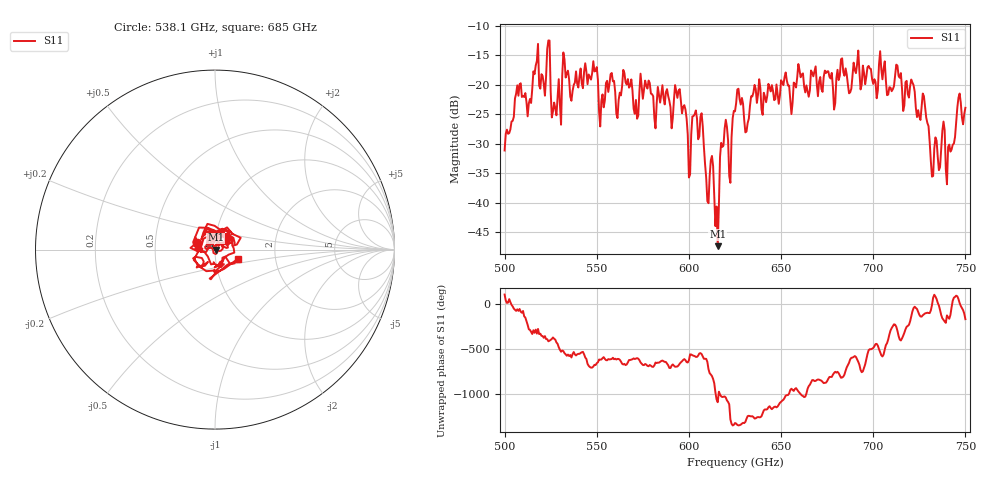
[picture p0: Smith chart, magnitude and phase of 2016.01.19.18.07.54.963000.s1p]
!Created with skrf (http://scikit-rf.org).
# GHz S RI R 50.0
!freq ReS11 ImS11
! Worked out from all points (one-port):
!   401 points, 500 GHz to 750 GHz, reference 50 ohm
!   lowest |S11| = -47.4 dB at 615.6 GHz (marker M1), VSWR 1.01, Z = 50.4 - j0.103 ohm
!   |S11| at or under -10 dB: start of sweep to end of sweep
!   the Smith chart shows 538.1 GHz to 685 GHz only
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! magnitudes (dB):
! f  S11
! 500 GHz  -31.2
! 507.5 GHz  -21.9
! 513.8 GHz  -22.4
! 516.9 GHz  -16.8
! 523.8 GHz  -12.5
! 526.9 GHz  -23.0
! 531.2 GHz  -18.6
! 548.8 GHz  -17.8
! 552.5 GHz  -22.8
! 558.1 GHz  -18.0
! 562.5 GHz  -21.4
! 593.8 GHz  -22.3
! 600 GHz  -35.7
! 603.1 GHz  -25.0
! 606.9 GHz  -24.9
! 610 GHz  -39.8
! 612.5 GHz  -32.1
! 615.6 GHz  -47.4
! 618.8 GHz  -30.3
! 622.5 GHz  -36.6
! 625 GHz  -24.5
! 656.2 GHz  -23.1
! 660.6 GHz  -18.8
! 687.5 GHz  -21.3
! 718.8 GHz  -21.6
! 728.1 GHz  -23.8
! 731.9 GHz  -35.6
! 750 GHz  -23.9
